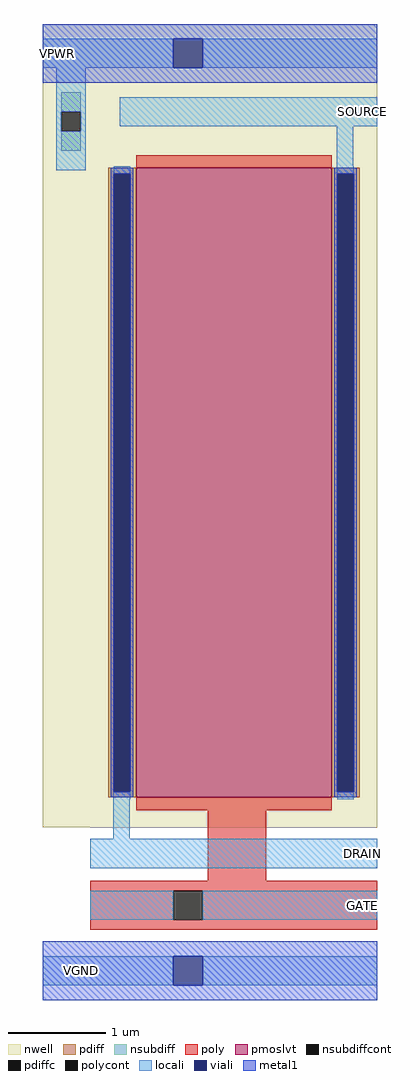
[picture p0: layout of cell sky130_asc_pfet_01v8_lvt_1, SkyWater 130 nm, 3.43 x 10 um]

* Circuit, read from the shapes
.subckt sky130_asc_pfet_01v8_lvt_1 GATE SOURCE DRAIN VPWR VGND
XM1 SOURCE GATE DRAIN VPWR sky130_fd_pr__pfet_01v8_lvt w=6.45 l=2
.ends

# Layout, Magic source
magic
tech sky130A
magscale 1 2
<< nwell >>
rect 90 294 776 1940
rect 188 293 776 294
<< pmoslvt >>
rect 282 355 682 1645
<< pdiff >>
rect 224 1633 282 1645
rect 224 367 236 1633
rect 270 367 282 1633
rect 224 355 282 367
rect 682 1633 740 1645
rect 682 367 694 1633
rect 728 367 740 1633
rect 682 355 740 367
<< pdiffc >>
rect 236 367 270 1633
rect 694 367 728 1633
<< nsubdiff >>
rect 128 1760 168 1800
rect 128 1680 168 1720
<< nsubdiffcont >>
rect 128 1720 168 1760
<< poly >>
rect 282 1645 682 1671
rect 282 329 682 355
rect 428 184 548 329
rect 188 164 776 184
rect 188 104 358 164
rect 418 104 776 164
rect 188 84 776 104
<< polycont >>
rect 358 104 418 164
<< locali >>
rect 90 1850 358 1910
rect 418 1850 776 1910
rect 118 1760 178 1850
rect 118 1720 128 1760
rect 168 1720 178 1760
rect 248 1730 776 1790
rect 118 1640 178 1720
rect 693 1649 727 1730
rect 236 1633 270 1649
rect 235 367 236 374
rect 693 1633 728 1649
rect 693 1626 694 1633
rect 235 351 270 367
rect 694 351 728 367
rect 235 270 269 351
rect 188 210 776 270
rect 188 104 358 164
rect 418 104 776 164
rect 90 -30 358 30
rect 418 -30 776 30
<< viali >>
rect 358 1850 418 1910
rect 236 367 270 1633
rect 694 367 728 1633
rect 358 -30 418 30
<< metal1 >>
rect 90 1910 776 1940
rect 90 1850 358 1910
rect 418 1850 776 1910
rect 90 1820 776 1850
rect 230 1633 276 1645
rect 230 367 236 1633
rect 270 367 276 1633
rect 230 355 276 367
rect 688 1633 734 1645
rect 688 367 694 1633
rect 728 367 734 1633
rect 688 355 734 367
rect 90 30 776 60
rect 90 -30 358 30
rect 418 -30 776 30
rect 90 -60 776 -30
<< labels >>
flabel nwell 90 1850 150 1910 1 FreeSans 800 0 0 0 VPWR
port 4 n power bidirectional
flabel metal1 90 -30 248 30 1 FreeSans 800 0 0 0 VGND
port 5 n ground bidirectional
flabel locali 716 1730 776 1790 1 FreeSans 800 0 0 0 SOURCE
port 2 n signal bidirectional
flabel locali 716 210 776 270 1 FreeSans 800 0 0 0 DRAIN
port 3 n signal bidirectional
flabel locali 716 104 776 164 1 FreeSans 800 0 0 0 GATE
port 1 n signal bidirectional
<< properties >>
string FIXED_BBOX 0 0 866 1880
string LEFclass CORE
string LEFsite unitasc
<< end >>
